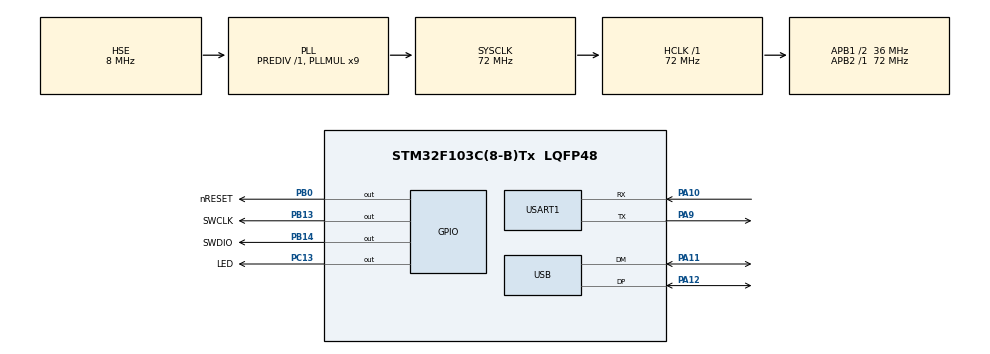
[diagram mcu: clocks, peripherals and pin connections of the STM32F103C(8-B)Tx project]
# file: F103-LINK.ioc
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Mcu.Family=STM32F1
Mcu.Name=STM32F103C(8-B)Tx
Mcu.Package=LQFP48
NVIC.PriorityGroup=NVIC_PRIORITYGROUP_4
NVIC.USB_HP_CAN1_TX_IRQn=true\:0\:0\:false\:false\:false\:true\:true\:true
NVIC.USB_LP_CAN1_RX0_IRQn=true\:0\:0\:false\:false\:false\:true\:true\:true
PA10.Mode=Asynchronous
PA10.Signal=USART1_RX
PA11.Mode=Device
PA11.Signal=USB_DM
PA12.Mode=Device
PA12.Signal=USB_DP
PA13.Mode=Serial_Wire
PA13.Signal=SYS_JTMS-SWDIO
PA14.Mode=Serial_Wire
PA14.Signal=SYS_JTCK-SWCLK
PA9.Mode=Asynchronous
PA9.Signal=USART1_TX
PB0.GPIO_Label=nRESET
PB0.GPIO_ModeDefaultOutputPP=GPIO_MODE_OUTPUT_OD
PB0.GPIO_PuPd=GPIO_NOPULL
PB0.GPIO_Speed=GPIO_SPEED_FREQ_HIGH
PB0.PinState=GPIO_PIN_SET
PB0.Signal=GPIO_Output
PB13.GPIO_Label=SWCLK
PB13.GPIO_Speed=GPIO_SPEED_FREQ_HIGH
PB13.PinState=GPIO_PIN_SET
PB13.Signal=GPIO_Output
PB14.GPIO_Label=SWDIO
PB14.GPIO_Speed=GPIO_SPEED_FREQ_HIGH
PB14.PinState=GPIO_PIN_SET
PB14.Signal=GPIO_Output
PC13-TAMPER-RTC.GPIO_Label=LED
PC13-TAMPER-RTC.GPIO_Speed=GPIO_SPEED_FREQ_HIGH
PC13-TAMPER-RTC.Signal=GPIO_Output
PC14-OSC32_IN.Mode=LSE-External-Oscillator
PC14-OSC32_IN.Signal=RCC_OSC32_IN
PC15-OSC32_OUT.Mode=LSE-External-Oscillator
PC15-OSC32_OUT.Signal=RCC_OSC32_OUT
PD0-OSC_IN.Mode=HSE-External-Oscillator
PD0-OSC_IN.Signal=RCC_OSC_IN
PD1-OSC_OUT.Mode=HSE-External-Oscillator
PD1-OSC_OUT.Signal=RCC_OSC_OUT
ProjectManager.HeapSize=0x200
ProjectManager.StackSize=0x400
ProjectManager.TargetToolchain=MDK-ARM V5.32
RCC.AHBFreq_Value=72000000
RCC.APB1CLKDivider=RCC_HCLK_DIV2
RCC.APB1Freq_Value=36000000
RCC.APB1TimFreq_Value=72000000
RCC.APB2Freq_Value=72000000
RCC.APB2TimFreq_Value=72000000
RCC.HCLKFreq_Value=72000000
RCC.PLLMUL=RCC_PLL_MUL9
RCC.SYSCLKFreq_VALUE=72000000
RCC.SYSCLKSource=RCC_SYSCLKSOURCE_PLLCLK
RCC.USBFreq_Value=48000000
RCC.USBPrescaler=RCC_USBCLKSOURCE_PLL_DIV1_5
USART1.VirtualMode=VM_ASYNC
board=custom

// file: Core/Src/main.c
/* USER CODE BEGIN Header */
/**
  ******************************************************************************
  * @file           : main.c
  * @brief          : Main program body
  ******************************************************************************
  * @attention
  *
  * Copyright (c) 2024 STMicroelectronics.
  * All rights reserved.
  *
  * This software is licensed under terms that can be found in the LICENSE file
  * in the root directory of this software component.
  * If no LICENSE file comes with this software, it is provided AS-IS.
  *
  ******************************************************************************
  */
/* USER CODE END Header */
#include "main.h"

/* USER CODE BEGIN Includes */
#include "RTE_Components.h"
#ifdef RTE_Compiler_EventRecorder
	#include "EventRecorder.h"
#endif
#include "cmsis_os2.h"
#include "rl_usb.h"
#include "osObjects.h"
#include "DAP_config.h"
#include "DAP.h"

/* USER CODE END Includes */

UART_HandleTypeDef huart1;

/* USER CODE BEGIN PV */
const uint8_t APBPrescTable[8U] =  {0, 0, 0, 0, 1, 2, 3, 4};

// Statically change USB Device 0 Device Descriptor
//const uint8_t usbd0_device_descriptor[] = {
//  18U,         // bLength = 7 bytes
//  1U,          // bDescriptorType = 1 = Device Descriptor Type
//  0x00U,0x02U,       // bcdUSB = 2.00 (little-endian)
//  0X00U,          // bDeviceClass = 0 = Defined in interface
//  0U,          // bDeviceSubClass = 0 = Defined in interface
//  0U,          // bDeviceProtocol = 0 = Defined in interface
//  8U,         // bMaxPacketSize = 8
//  0x51U,0xC2U, // idVendor = 0x0D28 (little-endian) 0xC251
//  0x0AU,0xF0U, // idProduct = 0x0204 (little-endian) 0xF00A
//  0U,1U,       // bcdDevice = 1.00 (little-endian)
//  1U,          // iManufacturer = 0 = No Manufacturer string
//  2U,          // iProduct = 0 = No Product string
//  3U,          // iSerialNumber = 0 = No Serial Number string
//  1U           // bNumConfigurations = 1 = 1 configuration
//};

/* USER CODE END PV */

void SystemClock_Config(void);
static void MX_GPIO_Init(void);
static void MX_USART1_UART_Init(void);

/* USER CODE BEGIN 0 */
/* Override default HAL_GetTick function */
uint32_t HAL_GetTick (void) {
  static uint32_t ticks = 0U;
  uint32_t i;

  if (osKernelGetState () == osKernelRunning) {
    return ((uint32_t)osKernelGetTickCount ());
  }

  /* If Kernel is not running wait approximately 1 ms then increment and return auxiliary tick counter value */
  for (i = (SystemCoreClock >> 14U); i > 0U; i--) {
    __NOP(); __NOP(); __NOP(); __NOP(); __NOP(); __NOP(); __NOP(); __NOP(); __NOP(); __NOP(); __NOP(); __NOP();
  }

  return ++ticks;
}

/* Override default HAL_InitTick function */
HAL_StatusTypeDef HAL_InitTick(uint32_t TickPriority) {
  UNUSED(TickPriority);

  return HAL_OK;
}

// Application Main program
__NO_RETURN void app_main (void *argument) {
  (void)argument;

  DAP_Setup();                          // DAP Setup

  USBD_Initialize(0U);                  // USB Device Initialization
  USBD_Connect(0U);                     // USB Device Connect

  while (!USBD_Configured(0U))
		osDelay(10);         // Wait for USB Device to configure

  LED_CONNECTED_OUT(1U);                // Turn on  Debugger Connected LED
  LED_RUNNING_OUT(1U);                  // Turn on  Target Running LED
  Delayms(500U);                        // Wait for 500ms
  LED_RUNNING_OUT(0U);                  // Turn off Target Running LED
  LED_CONNECTED_OUT(0U);                // Turn off Debugger Connected LED

  // Create DAP Thread
  DAP_ThreadId = osThreadNew(DAP_Thread, NULL, &DAP_ThreadAttr);

  // Create SWO Thread
//  SWO_ThreadId = osThreadNew(SWO_Thread, NULL, &SWO_ThreadAttr);

	osThreadExit();
//  osDelay(osWaitForever);
//  for (;;) {
//	HAL_GPIO_TogglePin(LED_GPIO_Port,LED_Pin);
//		osDelay(200);
//	}
}

/* USER CODE END 0 */

int main(void)
{

  /* MCU Configuration--------------------------------------------------------*/

  /* Reset of all peripherals, Initializes the Flash interface and the Systick. */
  HAL_Init();

  /* Configure the system clock */
  SystemClock_Config();

  /* Initialize all configured peripherals */
  MX_GPIO_Init();
  MX_USART1_UART_Init();
  /* USER CODE BEGIN 2 */
	#ifdef RTE_Compiler_EventRecorder
		EventRecorderInitialize(EventRecordAll, 1);
	#endif
	SystemCoreClockUpdate();
	osKernelInitialize();                 // Initialize CMSIS-RTOS
	osThreadNew(app_main, NULL, NULL);    // Create application main thread
  if (osKernelGetState() == osKernelReady) {
    osKernelStart();                    // Start thread execution
  }

  /* USER CODE END 2 */

  /* Infinite loop */
  while (1)
  {

  }
}

void SystemClock_Config(void)
{
  RCC_OscInitTypeDef RCC_OscInitStruct = {0};
  RCC_ClkInitTypeDef RCC_ClkInitStruct = {0};
  RCC_PeriphCLKInitTypeDef PeriphClkInit = {0};

  /** Initializes the RCC Oscillators according to the specified parameters
  * in the RCC_OscInitTypeDef structure.
  */
  RCC_OscInitStruct.OscillatorType = RCC_OSCILLATORTYPE_HSE;
  RCC_OscInitStruct.HSEState = RCC_HSE_ON;
  RCC_OscInitStruct.HSEPredivValue = RCC_HSE_PREDIV_DIV1;
  RCC_OscInitStruct.HSIState = RCC_HSI_ON;
  RCC_OscInitStruct.PLL.PLLState = RCC_PLL_ON;
  RCC_OscInitStruct.PLL.PLLSource = RCC_PLLSOURCE_HSE;
  RCC_OscInitStruct.PLL.PLLMUL = RCC_PLL_MUL9;
  if (HAL_RCC_OscConfig(&RCC_OscInitStruct) != HAL_OK)
  {
    Error_Handler();
  }

  /** Initializes the CPU, AHB and APB buses clocks
  */
  RCC_ClkInitStruct.ClockType = RCC_CLOCKTYPE_HCLK|RCC_CLOCKTYPE_SYSCLK
                              |RCC_CLOCKTYPE_PCLK1|RCC_CLOCKTYPE_PCLK2;
  RCC_ClkInitStruct.SYSCLKSource = RCC_SYSCLKSOURCE_PLLCLK;
  RCC_ClkInitStruct.AHBCLKDivider = RCC_SYSCLK_DIV1;
  RCC_ClkInitStruct.APB1CLKDivider = RCC_HCLK_DIV2;
  RCC_ClkInitStruct.APB2CLKDivider = RCC_HCLK_DIV1;

  if (HAL_RCC_ClockConfig(&RCC_ClkInitStruct, FLASH_LATENCY_2) != HAL_OK)
  {
    Error_Handler();
  }
  PeriphClkInit.PeriphClockSelection = RCC_PERIPHCLK_USB;
  PeriphClkInit.UsbClockSelection = RCC_USBCLKSOURCE_PLL_DIV1_5;
  if (HAL_RCCEx_PeriphCLKConfig(&PeriphClkInit) != HAL_OK)
  {
    Error_Handler();
  }
}

static void MX_USART1_UART_Init(void)
{

  huart1.Instance = USART1;
  huart1.Init.BaudRate = 115200;
  huart1.Init.WordLength = UART_WORDLENGTH_8B;
  huart1.Init.StopBits = UART_STOPBITS_1;
  huart1.Init.Parity = UART_PARITY_NONE;
  huart1.Init.Mode = UART_MODE_TX_RX;
  huart1.Init.HwFlowCtl = UART_HWCONTROL_NONE;
  huart1.Init.OverSampling = UART_OVERSAMPLING_16;
  if (HAL_UART_Init(&huart1) != HAL_OK)
  {
    Error_Handler();
  }

}

static void MX_GPIO_Init(void)
{
  GPIO_InitTypeDef GPIO_InitStruct = {0};

  /* GPIO Ports Clock Enable */
  __HAL_RCC_GPIOC_CLK_ENABLE();
  __HAL_RCC_GPIOD_CLK_ENABLE();
  __HAL_RCC_GPIOB_CLK_ENABLE();
  __HAL_RCC_GPIOA_CLK_ENABLE();

  /*Configure GPIO pin Output Level */
  HAL_GPIO_WritePin(LED_GPIO_Port, LED_Pin, GPIO_PIN_RESET);

  /*Configure GPIO pin Output Level */
  HAL_GPIO_WritePin(GPIOB, nRESET_Pin|SWCLK_Pin|SWDIO_Pin, GPIO_PIN_SET);

  /*Configure GPIO pin : LED_Pin */
  GPIO_InitStruct.Pin = LED_Pin;
  GPIO_InitStruct.Mode = GPIO_MODE_OUTPUT_PP;
  GPIO_InitStruct.Pull = GPIO_NOPULL;
  GPIO_InitStruct.Speed = GPIO_SPEED_FREQ_HIGH;
  HAL_GPIO_Init(LED_GPIO_Port, &GPIO_InitStruct);

  /*Configure GPIO pin : nRESET_Pin */
  GPIO_InitStruct.Pin = nRESET_Pin;
  GPIO_InitStruct.Mode = GPIO_MODE_OUTPUT_OD;
  GPIO_InitStruct.Pull = GPIO_NOPULL;
  GPIO_InitStruct.Speed = GPIO_SPEED_FREQ_HIGH;
  HAL_GPIO_Init(nRESET_GPIO_Port, &GPIO_InitStruct);

  /*Configure GPIO pins : SWCLK_Pin SWDIO_Pin */
  GPIO_InitStruct.Pin = SWCLK_Pin|SWDIO_Pin;
  GPIO_InitStruct.Mode = GPIO_MODE_OUTPUT_PP;
  GPIO_InitStruct.Pull = GPIO_NOPULL;
  GPIO_InitStruct.Speed = GPIO_SPEED_FREQ_HIGH;
  HAL_GPIO_Init(GPIOB, &GPIO_InitStruct);

}

void Error_Handler(void)
{
  __disable_irq();
  while (1)
  {
  }
}
